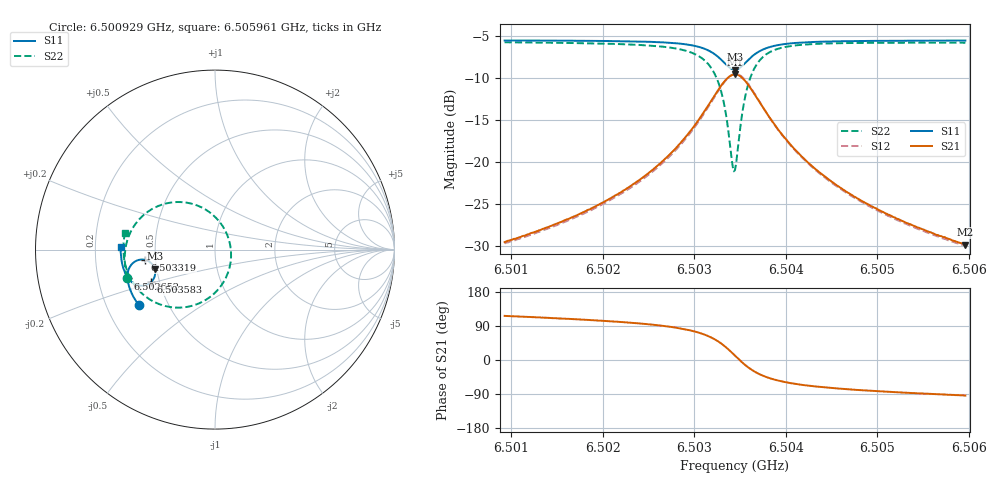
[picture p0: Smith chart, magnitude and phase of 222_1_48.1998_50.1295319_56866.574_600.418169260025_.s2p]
#  HZ  S  RI  R  50.00
! Rohde & Schwarz Vector Network Analyzer
! Rohde-Schwarz,ZNB20-2Port,1311601062101988,3.16
! Created: UTC 3/20/2024, 11:45:59 AM
! freq[Hz]  re:S11  im:S11  re:S21  im:S21  re:S12  im:S12  re:S22  im:S22
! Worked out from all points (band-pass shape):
!   401 points, 6.500929 GHz to 6.505961 GHz, reference 50 ohm
!   highest |S21| = -9.60 dB at 6.503445 GHz (marker M1); lowest = -29.8 dB at 6.505961 GHz (marker M2)
!   |S21| within 3 dB of the highest: 6.503193 GHz to 6.503696 GHz (503.5 kHz wide, 0.00774 % of centre)
!   lowest |S11| = -9.1 dB at 6.503445 GHz (marker M3), VSWR 2.09, Z = 24.4 - j5.94 ohm
!   |S11| at or under -10 dB: nowhere
!   |S22| runs from -21.1 to -5.8 dB; largest |S21 - S12| = 0.012
!   S11 on the Smith chart (normalised r, x): 6.500929 GHz: 0.34, -0.29; 6.502652 GHz: 0.33, -0.14; 6.503319 GHz: 0.44, -0.06; 6.503583 GHz: 0.45, -0.19; 6.505961 GHz: 0.31, +0.01
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6.5009286e9  -0.4254 -0.3105  -0.0149 0.03  -0.0132 0.0301  -0.4893 -0.1561
6.5017716e9  -0.4617 -0.2484  -0.0143 0.0478  -0.012 0.0474  -0.5028 -0.0667
6.5022622e9  -0.4789 -0.2045  -0.011 0.0687  -0.008 0.0675  -0.4993 0.00351
6.5026145e9  -0.4871 -0.1655  -0.00219 0.0965  0.00137 0.0944  -0.4805 0.0748
6.5026523e9  -0.4874 -0.1605  -0.000629 0.1008  0.00315 0.0983  -0.4766 0.0843
6.5029291e9  -0.4835 -0.1176  0.0264 0.1435  0.03 0.139  -0.4206 0.1702
6.5031178e9  -0.4621 -0.0795  0.0807 0.1858  0.0832 0.1794  -0.3164 0.2429
6.503231e9  -0.4292 -0.0588  0.1503 0.2032  0.1512 0.1968  -0.1912 0.2648
6.5033191e9  -0.3886 -0.0573  0.2302 0.1866  0.2305 0.1814  -0.0532 0.2234
6.5033569e9  -0.3692 -0.0652  0.2667 0.1631  0.2676 0.1586  0.00667 0.1757
6.5034198e9  -0.3426 -0.0922  0.3143 0.0985  0.3169 0.0934  0.0786 0.0514
6.5034449e9  -0.3362 -0.1068  0.3244 0.0659  0.3276 0.06  0.0891 -0.00923
6.5034701e9  -0.3332 -0.1226  0.3279 0.0321  0.3313 0.0251  0.0867 -0.0711
6.503533e9  -0.3407 -0.1599  0.309 -0.046  0.3112 -0.0562  0.03 -0.2068
6.5035833e9  -0.3571 -0.1819  0.2754 -0.0914  0.2749 -0.103  -0.0471 -0.2775
6.5036966e9  -0.4018 -0.2014  0.1906 -0.1361  0.1852 -0.1456  -0.2185 -0.3231
6.5038601e9  -0.448 -0.1915  0.1086 -0.1327  0.1016 -0.1378  -0.3662 -0.2758
6.5040363e9  -0.4756 -0.1703  0.064 -0.1125  0.0577 -0.1147  -0.4384 -0.2106
6.5042879e9  -0.4961 -0.1404  0.034 -0.0881  0.0292 -0.0886  -0.4818 -0.1382
6.5046528e9  -0.5113 -0.1021  0.0153 -0.0654  0.0119 -0.065  -0.5038 -0.0652
6.5051309e9  -0.5211 -0.0579  0.00498 -0.0483  0.00275 -0.0475  -0.5105 0.00261
6.5059613e9  -0.526 0.0124  -0.00214 -0.0323  -0.00336 -0.0315  -0.5024 0.0904
